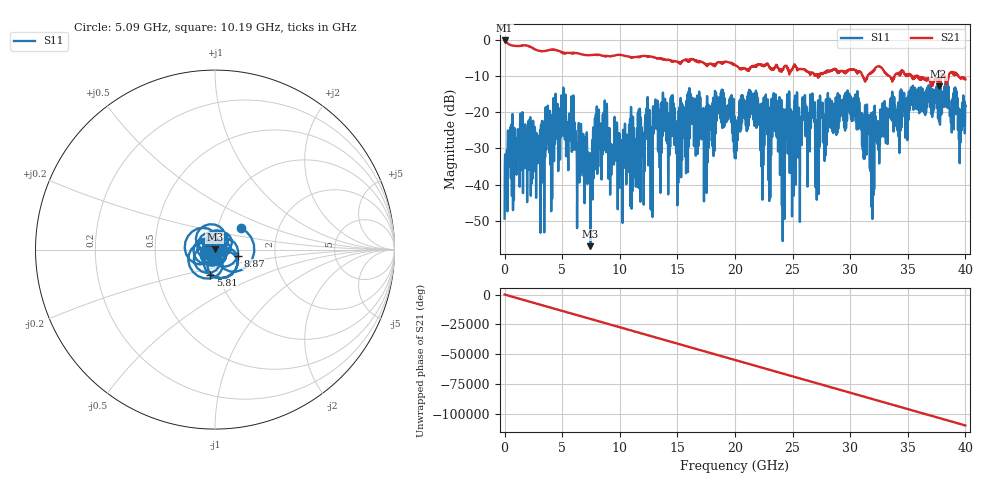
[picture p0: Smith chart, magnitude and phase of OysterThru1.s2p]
! File created by SignalIntegrity v1.1.1: Signal and Power Integrity Tools
! https://github.com/TeledyneLeCroy/SignalIntegrity
# MHz MA S R 50.0
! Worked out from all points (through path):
!   8000 points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, 5 MHz to 40 GHz, reference 50 ohm
!   highest |S21| = -0.16 dB at 5 MHz (marker M1); lowest = -12.8 dB at 37.67 GHz (marker M2)
!   group delay of S21, straight-line fit = 7.59 ns
!   lowest |S11| = -57.1 dB at 7.455 GHz (marker M3), VSWR 1.00, Z = 49.9 + j0.0705 ohm
!   |S11| at or under -10 dB: start of sweep to end of sweep
!   S12 and S22 are empty: the file has one direction only
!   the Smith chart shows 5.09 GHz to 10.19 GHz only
!   S11 on the Smith chart (normalised r, x): 5.09 GHz: 1.29, +0.32; 5.81 GHz: 0.91, -0.26; 8.87 GHz: 1.28, -0.09; 10.19 GHz: 0.97, -0.03
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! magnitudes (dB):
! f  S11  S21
! 5 MHz  -49.4  -0.2
! 510 MHz  -24.5  -1.4
! 2.93 GHz  -27.3  -3.0
! 5.09 GHz  -14.6  -3.6
! 5.81 GHz  -16.8  -3.7
! 6.675 GHz  -30.0  -4.0
! 7.455 GHz  -57.1  -4.2
! 8.015 GHz  -18.7  -4.2
! 8.87 GHz  -17.7  -4.6
! 10.19 GHz  -33.5  -4.2
! 13.34 GHz  -25.1  -5.1
! 18.77 GHz  -15.1  -6.3
! 20 GHz  -26.0  -7.0
! 21.41 GHz  -14.5  -7.5
! 24.26 GHz  -25.5  -7.5
! 26.67 GHz  -21.2  -9.1
! 27.15 GHz  -26.7  -9.7
! 30.45 GHz  -15.1  -8.6
! 31.89 GHz  -22.3  -9.0
! 33.34 GHz  -21.5  -9.9
! 37.67 GHz  -12.5  -12.8
! 40 GHz  -18.3  -10.9
